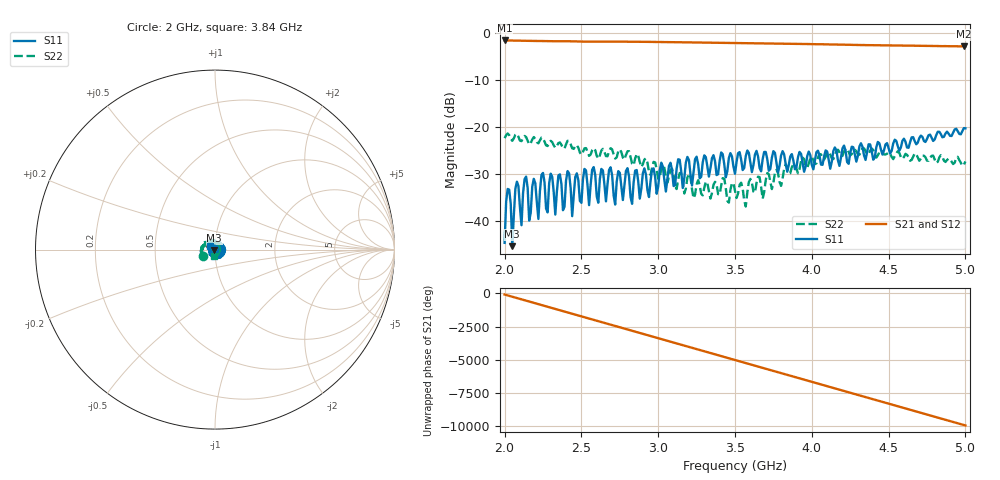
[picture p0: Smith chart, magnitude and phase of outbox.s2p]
#  HZ  S  DB  R  50.00
! Rohde & Schwarz Vector Network Analyzer
! Rohde-Schwarz,ZNB40-4Port,1311601084101506,3.12
! Created: UTC 11/24/2023, 1:25:45 PM
! freq[Hz]  db:S11  ang:S11  db:S21  ang:S21  db:S12  ang:S12  db:S22  ang:S22
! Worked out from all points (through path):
!   301 points, 2 GHz to 5 GHz, reference 50 ohm
!   highest |S21| = -1.55 dB at 2 GHz (marker M1); lowest = -2.8 dB at 4.99 GHz (marker M2)
!   lowest |S11| = -45.4 dB at 2.05 GHz (marker M3), VSWR 1.01, Z = 49.6 - j0.341 ohm
!   |S11| at or under -10 dB: start of sweep to end of sweep
!   |S22| runs from -36.9 to -21.4 dB; largest |S21 - S12| = 0.011
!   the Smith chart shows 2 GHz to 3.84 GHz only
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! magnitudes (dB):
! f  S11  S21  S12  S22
! 2 GHz  -44.7  -1.5  -1.5  -22.4
! 2.02 GHz  -33.2  -1.5  -1.6  -21.4
! 2.05 GHz  -45.4  -1.6  -1.6  -22.9
! 2.08 GHz  -31.6  -1.6  -1.6  -21.5
! 2.11 GHz  -40.9  -1.6  -1.6  -23.0
! 2.14 GHz  -30.6  -1.6  -1.6  -22.1
! 2.16 GHz  -39.9  -1.6  -1.6  -23.7
! 2.25 GHz  -29.8  -1.7  -1.7  -22.3
! 2.28 GHz  -38.2  -1.7  -1.7  -24.0
! 2.3 GHz  -29.9  -1.7  -1.7  -22.9
! 2.33 GHz  -38.7  -1.7  -1.7  -24.4
! 2.36 GHz  -30.1  -1.7  -1.7  -23.3
! 2.5 GHz  -36.2  -1.8  -1.8  -25.9
! 2.52 GHz  -28.9  -1.8  -1.8  -24.5
! 2.55 GHz  -36.7  -1.8  -1.8  -26.1
! 2.58 GHz  -28.5  -1.8  -1.8  -24.5
! 3 GHz  -32.7  -1.9  -1.9  -31.0
! 3.5 GHz  -29.9  -2.1  -2.1  -33.5
! 4 GHz  -28.1  -2.3  -2.3  -26.3
! 4.5 GHz  -24.5  -2.6  -2.6  -25.5
! 4.99 GHz  -20.2  -2.8  -2.8  -28.0
! 5 GHz  -20.3  -2.8  -2.8  -27.3
